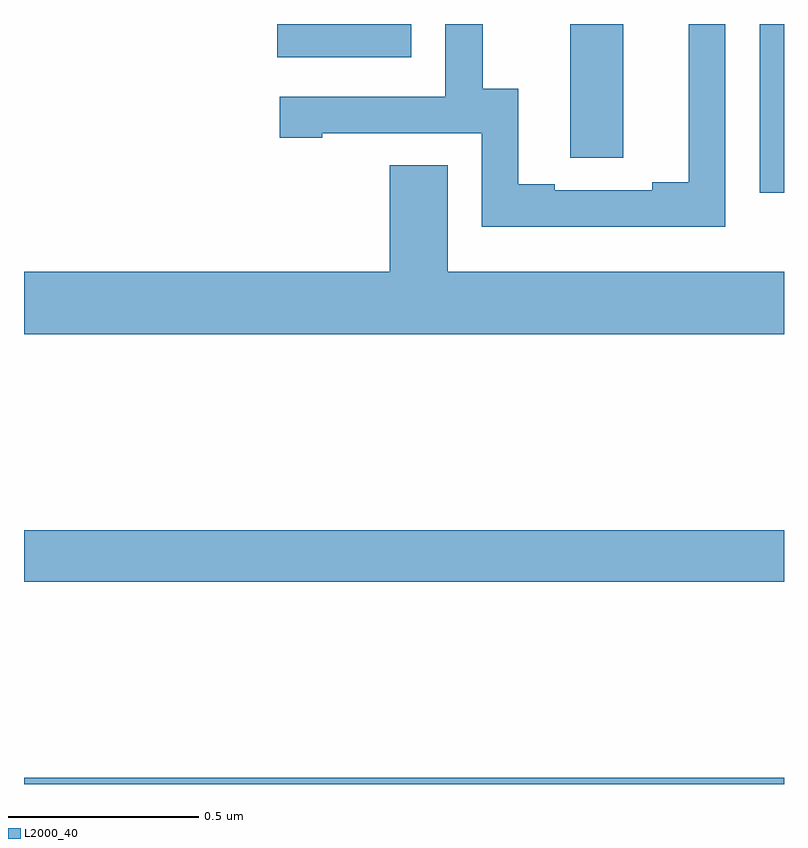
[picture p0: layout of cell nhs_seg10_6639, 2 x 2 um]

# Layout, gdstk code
import gdstk
lib = gdstk.Library(unit=1e-6, precision=1e-09)
def R(c, l, rs):  # rectangles x0, y0, x1, y1
    for r in rs: c.add(gdstk.rectangle(r[:2], r[2:], *l))
def P(c, l, *ps):  # polygons
    for p in ps: c.add(gdstk.Polygon(p, *l))
L2000_40 = (2000, 40)

nhs_seg10_6639 = lib.new_cell('nhs_seg10_6639')
R(nhs_seg10_6639, L2000_40, [(194,1264.5,196,1264.516), (194,1265.032,196,1265.168), (195.936,1266.056,196,1266.5), (194.666,1266.413,195.019,1266.5)])
P(nhs_seg10_6639, L2000_40, [(195.577,1266.5),(195.437,1266.5),(195.437,1266.256),(195.438,1266.256),(195.438,1266.148),(195.577,1266.148)],
  [(195.846,1266.5),(195.749,1266.5),(195.749,1266.083),(195.653,1266.083),(195.653,1266.063),(195.397,1266.063),(195.397,1266.078),(195.301,1266.078),(195.301,1266.329),(195.207,1266.329),(195.207,1266.5),(195.108,1266.5),(195.108,1266.309),(194.673,1266.309),(194.673,1266.201),(194.785,1266.201),(194.785,1266.213),(195.204,1266.213),(195.204,1265.967),(195.846,1265.967)],
  [(196,1265.848),(195.115,1265.848),(195.115,1266.128),(194.963,1266.128),(194.963,1265.848),(194,1265.848),(194,1265.684),(196,1265.684)])

lib.write_gds('nhs_seg10_6639.gds')
